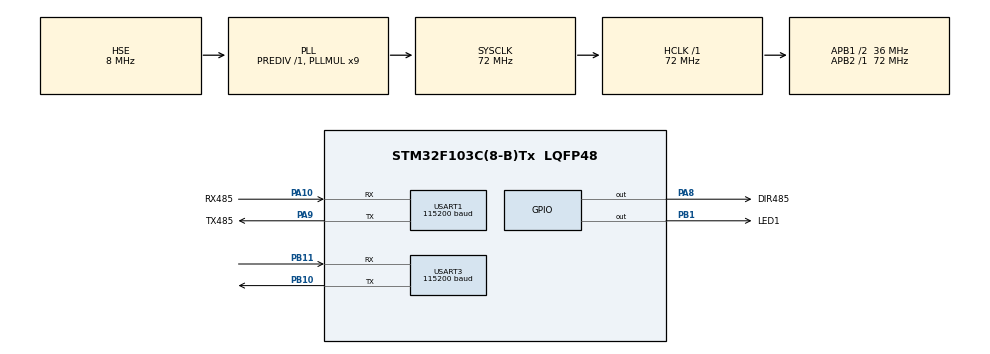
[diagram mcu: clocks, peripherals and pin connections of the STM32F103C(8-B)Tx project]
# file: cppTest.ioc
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Mcu.Family=STM32F1
Mcu.Name=STM32F103C(8-B)Tx
Mcu.Package=LQFP48
NVIC.PriorityGroup=NVIC_PRIORITYGROUP_4
NVIC.USART1_IRQn=true\:0\:0\:false\:false\:true\:true\:true
NVIC.USART3_IRQn=true\:0\:0\:false\:false\:true\:true\:true
PA10.GPIO_Label=RX485
PA10.Mode=Asynchronous
PA10.Signal=USART1_RX
PA13.Mode=Serial_Wire
PA13.Signal=SYS_JTMS-SWDIO
PA14.Mode=Serial_Wire
PA14.Signal=SYS_JTCK-SWCLK
PA8.GPIO_Label=DIR485
PA8.Signal=GPIO_Output
PA9.GPIO_Label=TX485
PA9.Mode=Asynchronous
PA9.Signal=USART1_TX
PB1.GPIO_Label=LED1
PB1.Signal=GPIO_Output
PB10.Mode=Asynchronous
PB10.Signal=USART3_TX
PB11.Mode=Asynchronous
PB11.Signal=USART3_RX
PD0-OSC_IN.Mode=HSE-External-Oscillator
PD0-OSC_IN.Signal=RCC_OSC_IN
PD1-OSC_OUT.Mode=HSE-External-Oscillator
PD1-OSC_OUT.Signal=RCC_OSC_OUT
ProjectManager.HeapSize=0x200
ProjectManager.StackSize=0x400
ProjectManager.TargetToolchain=Makefile
RCC.AHBFreq_Value=72000000
RCC.APB1CLKDivider=RCC_HCLK_DIV2
RCC.APB1Freq_Value=36000000
RCC.APB1TimFreq_Value=72000000
RCC.APB2Freq_Value=72000000
RCC.APB2TimFreq_Value=72000000
RCC.FLatency=FLASH_LATENCY_2
RCC.HCLKFreq_Value=72000000
RCC.PLLMUL=RCC_PLL_MUL9
RCC.PLLSourceVirtual=RCC_PLLSOURCE_HSE
RCC.SYSCLKFreq_VALUE=72000000
RCC.SYSCLKSource=RCC_SYSCLKSOURCE_PLLCLK
RCC.USBFreq_Value=72000000
USART1.BaudRate=115200
USART1.Mode=MODE_TX_RX
USART1.Parity=PARITY_NONE
USART1.StopBits=STOPBITS_1
USART1.VirtualMode=VM_ASYNC
USART1.WordLength=WORDLENGTH_8B
USART3.BaudRate=115200
USART3.Mode=MODE_TX_RX
USART3.Parity=PARITY_NONE
USART3.StopBits=STOPBITS_1
USART3.VirtualMode=VM_ASYNC
USART3.WordLength=WORDLENGTH_8B
board=custom

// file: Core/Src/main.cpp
/* USER CODE BEGIN Header */
/**
  ******************************************************************************
  * @file           : main.c
  * @brief          : Main program body
  ******************************************************************************
  * @attention
  *
  * Copyright (c) 2022 STMicroelectronics.
  * All rights reserved.
  *
  * This software is licensed under terms that can be found in the LICENSE file
  * in the root directory of this software component.
  * If no LICENSE file comes with this software, it is provided AS-IS.
  *
  ******************************************************************************
  */
/* USER CODE END Header */
#include "main.h"
#include "usart.h"
#include "gpio.h"

/* USER CODE BEGIN Includes */
#include <string>
#include <vector>
#include <stdio.h>
#include "retarget.h"
#include "Uart.h"

/* USER CODE END Includes */

/* USER CODE BEGIN PTD */
bool recvStatus = false;
CUart sUart3(&huart3);
std::string recvStr;

/* USER CODE END PTD */

void SystemClock_Config(void);
/* USER CODE BEGIN PFP */
void HAL_UART_RxCpltCallback(UART_HandleTypeDef *huart) {

  recvStatus = true;
  sUart3.readUart_IT(recvStr, 10);
}

/* USER CODE END PFP */

int main(void)
{

  /* MCU Configuration--------------------------------------------------------*/

  /* Reset of all peripherals, Initializes the Flash interface and the Systick. */
  HAL_Init();

  /* Configure the system clock */
  SystemClock_Config();

  /* Initialize all configured peripherals */
  MX_GPIO_Init();
  MX_USART1_UART_Init();
  MX_USART3_UART_Init();
  /* USER CODE BEGIN 2 */
  RetargetInit(&huart3);
  __HAL_UART_ENABLE_IT(&huart3, UART_IT_RXNE);

  printf("start ...\n");

  /* USER CODE END 2 */

  /* Infinite loop */
  /* USER CODE BEGIN WHILE */
  while (1)
  {
    //闪灯
    HAL_GPIO_TogglePin(LED1_GPIO_Port, LED1_Pin);

    //串口3接收 中断方式
    sUart3.readUart_IT(recvStr, 10);
    // 检测中断标志
    if(recvStatus == true) {
      recvStatus = false;
      // 串口3发送
      sUart3.writeUart(recvStr, recvStr.length(), 100);
    }
    HAL_Delay(500);
    /* USER CODE END WHILE */

  }
}

void SystemClock_Config(void)
{
  RCC_OscInitTypeDef RCC_OscInitStruct = {0};
  RCC_ClkInitTypeDef RCC_ClkInitStruct = {0};

  /** Initializes the RCC Oscillators according to the specified parameters
  * in the RCC_OscInitTypeDef structure.
  */
  RCC_OscInitStruct.OscillatorType = RCC_OSCILLATORTYPE_HSE;
  RCC_OscInitStruct.HSEState = RCC_HSE_ON;
  RCC_OscInitStruct.HSEPredivValue = RCC_HSE_PREDIV_DIV1;
  RCC_OscInitStruct.HSIState = RCC_HSI_ON;
  RCC_OscInitStruct.PLL.PLLState = RCC_PLL_ON;
  RCC_OscInitStruct.PLL.PLLSource = RCC_PLLSOURCE_HSE;
  RCC_OscInitStruct.PLL.PLLMUL = RCC_PLL_MUL9;
  if (HAL_RCC_OscConfig(&RCC_OscInitStruct) != HAL_OK)
  {
    Error_Handler();
  }
  /** Initializes the CPU, AHB and APB buses clocks
  */
  RCC_ClkInitStruct.ClockType = RCC_CLOCKTYPE_HCLK|RCC_CLOCKTYPE_SYSCLK
                              |RCC_CLOCKTYPE_PCLK1|RCC_CLOCKTYPE_PCLK2;
  RCC_ClkInitStruct.SYSCLKSource = RCC_SYSCLKSOURCE_PLLCLK;
  RCC_ClkInitStruct.AHBCLKDivider = RCC_SYSCLK_DIV1;
  RCC_ClkInitStruct.APB1CLKDivider = RCC_HCLK_DIV2;
  RCC_ClkInitStruct.APB2CLKDivider = RCC_HCLK_DIV1;

  if (HAL_RCC_ClockConfig(&RCC_ClkInitStruct, FLASH_LATENCY_2) != HAL_OK)
  {
    Error_Handler();
  }
}

void Error_Handler(void)
{
  __disable_irq();
  while (1)
  {
  }
}
